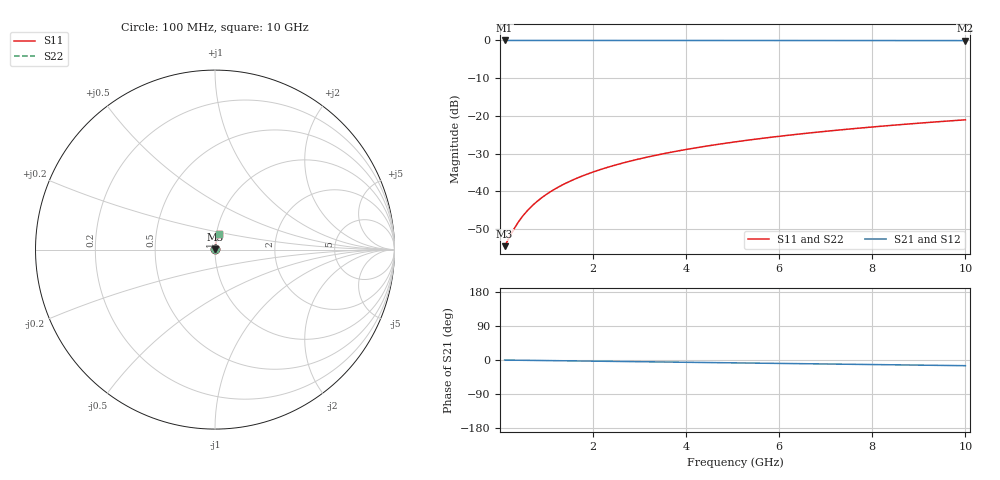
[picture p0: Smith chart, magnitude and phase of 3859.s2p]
# Hz S RI R 50.00
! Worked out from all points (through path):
!   100 points, 100 MHz to 10 GHz, reference 50 ohm
!   highest |S21| = -0.01 dB at 100 MHz (marker M1); lowest = -0.1 dB at 10 GHz (marker M2)
!   group delay of S21, straight-line fit = 4.17 ps
!   lowest |S11| = -54.6 dB at 100 MHz (marker M3), VSWR 1.00, Z = 50.2 + j0.0894 ohm
!   |S11| at or under -10 dB: start of sweep to end of sweep
!   |S22| runs from -54.6 to -21.1 dB; largest |S21 - S12| = 0
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1e8  0.00164 0.000891  0.9984 -0.00261  0.9984 -0.00261  0.00164 0.000891
3e8  0.00168 0.00267  0.9983 -0.00783  0.9983 -0.00783  0.00168 0.00267
4e8  0.0017 0.00356  0.9983 -0.0104  0.9983 -0.0104  0.0017 0.00356
5e8  0.00173 0.00445  0.9982 -0.013  0.9982 -0.013  0.00173 0.00445
6e8  0.00176 0.00534  0.9982 -0.0157  0.9982 -0.0157  0.00176 0.00534
7e8  0.00179 0.00623  0.9981 -0.0183  0.9981 -0.0183  0.00179 0.00623
8e8  0.00183 0.00712  0.9981 -0.0209  0.9981 -0.0209  0.00183 0.00712
9e8  0.00187 0.00801  0.998 -0.0235  0.998 -0.0235  0.00187 0.00801
1e9  0.00192 0.0089  0.9979 -0.0261  0.9979 -0.0261  0.00192 0.0089
1.2e9  0.00203 0.0107  0.9977 -0.0313  0.9977 -0.0313  0.00203 0.0107
1.5e9  0.00222 0.0133  0.9974 -0.0391  0.9974 -0.0391  0.00222 0.0133
1.8e9  0.00246 0.016  0.997 -0.047  0.997 -0.047  0.00246 0.016
2.1e9  0.00274 0.0187  0.9966 -0.0548  0.9966 -0.0548  0.00274 0.0187
2.5e9  0.00317 0.0222  0.9959 -0.0652  0.9959 -0.0652  0.00317 0.0222
2.9e9  0.00368 0.0257  0.995 -0.0756  0.995 -0.0756  0.00368 0.0257
3.4e9  0.00442 0.0301  0.9938 -0.0886  0.9938 -0.0886  0.00442 0.0301
4.2e9  0.00583 0.0371  0.9915 -0.1094  0.9915 -0.1094  0.00583 0.0371
5.1e9  0.00778 0.0449  0.9883 -0.1326  0.9883 -0.1326  0.00778 0.0449
5.9e9  0.00981 0.0517  0.9849 -0.1533  0.9849 -0.1533  0.00981 0.0517
6.7e9  0.0121 0.0584  0.9811 -0.1738  0.9811 -0.1738  0.0121 0.0584
8.4e9  0.018 0.0724  0.9713 -0.2171  0.9713 -0.2171  0.018 0.0724
1e10  0.0246 0.0851  0.9602 -0.2574  0.9602 -0.2574  0.0246 0.0851
